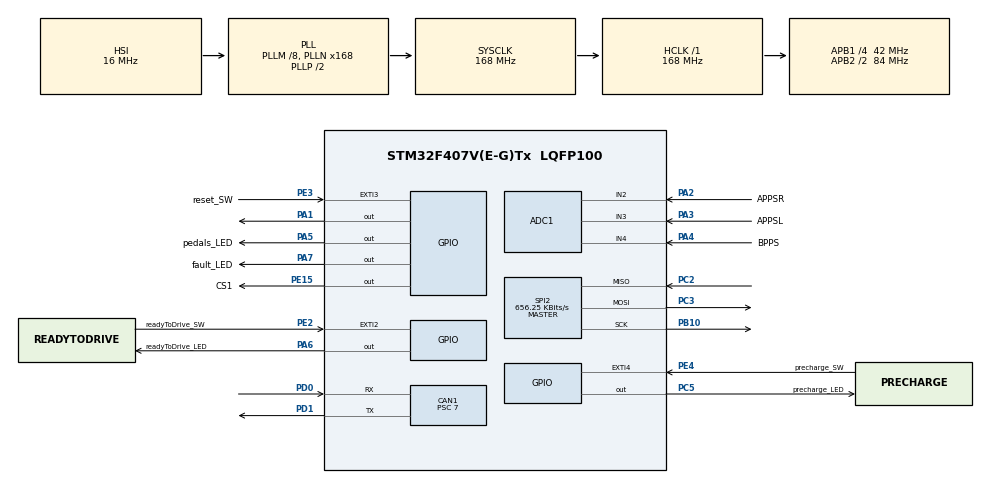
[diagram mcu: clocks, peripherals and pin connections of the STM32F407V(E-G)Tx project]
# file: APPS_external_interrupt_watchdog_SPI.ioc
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ADC1.Channel-0\#ChannelRegularConversion=ADC_CHANNEL_2
ADC1.Channel-1\#ChannelRegularConversion=ADC_CHANNEL_3
ADC1.Channel-2\#ChannelRegularConversion=ADC_CHANNEL_4
ADC1.ClockPrescaler=ADC_CLOCK_SYNC_PCLK_DIV8
ADC1.ContinuousConvMode=ENABLE
ADC1.DMAContinuousRequests=ENABLE
ADC1.NbrOfConversion=3
ADC1.NbrOfConversionFlag=1
ADC1.Rank-0\#ChannelRegularConversion=1
ADC1.Rank-1\#ChannelRegularConversion=2
ADC1.Rank-2\#ChannelRegularConversion=3
ADC1.SamplingTime-0\#ChannelRegularConversion=ADC_SAMPLETIME_480CYCLES
ADC1.SamplingTime-1\#ChannelRegularConversion=ADC_SAMPLETIME_480CYCLES
ADC1.SamplingTime-2\#ChannelRegularConversion=ADC_SAMPLETIME_480CYCLES
ADC1.ScanConvMode=ENABLE
ADC1.master=1
CAN1.BS1=CAN_BS1_5TQ
CAN1.BS2=CAN_BS2_6TQ
CAN1.CalculateBaudRate=500000
CAN1.CalculateTimeBit=1999.99
CAN1.CalculateTimeQuantum=166.66666666666669
CAN1.Prescaler=7
Dma.ADC1.0.Direction=DMA_PERIPH_TO_MEMORY
Dma.ADC1.0.FIFOMode=DMA_FIFOMODE_DISABLE
Dma.ADC1.0.Instance=DMA2_Stream0
Dma.ADC1.0.MemDataAlignment=DMA_MDATAALIGN_HALFWORD
Dma.ADC1.0.MemInc=DMA_MINC_ENABLE
Dma.ADC1.0.Mode=DMA_CIRCULAR
Dma.ADC1.0.PeriphDataAlignment=DMA_PDATAALIGN_HALFWORD
Dma.ADC1.0.PeriphInc=DMA_PINC_DISABLE
Dma.ADC1.0.Priority=DMA_PRIORITY_LOW
Dma.Request0=ADC1
IWDG.Prescaler=IWDG_PRESCALER_32
IWDG.Reload=1000
Mcu.Family=STM32F4
Mcu.Name=STM32F407V(E-G)Tx
Mcu.Package=LQFP100
NVIC.CAN1_RX0_IRQn=true\:3\:0\:true\:true\:true\:6\:true\:true
NVIC.DMA2_Stream0_IRQn=true\:0\:0\:false\:true\:true\:1\:false\:true
NVIC.EXTI2_IRQn=true\:1\:2\:true\:true\:true\:4\:true\:true
NVIC.EXTI3_IRQn=true\:1\:0\:true\:true\:true\:2\:true\:true
NVIC.EXTI4_IRQn=true\:1\:1\:true\:true\:true\:3\:true\:true
NVIC.PriorityGroup=NVIC_PRIORITYGROUP_2
NVIC.TIM2_IRQn=true\:2\:0\:true\:true\:true\:5\:true\:true
PA1.Signal=GPIO_Output
PA2.GPIO_Label=APPSR
PA2.Signal=ADCx_IN2
PA3.GPIO_Label=APPSL
PA3.Signal=ADCx_IN3
PA4.GPIO_Label=BPPS
PA4.Signal=ADCx_IN4
PA5.GPIO_Label=pedals_LED
PA5.Signal=GPIO_Output
PA6.GPIO_Label=readyToDrive_LED
PA6.Signal=GPIO_Output
PA7.GPIO_Label=fault_LED
PA7.Signal=GPIO_Output
PB10.Mode=Full_Duplex_Master
PB10.Signal=SPI2_SCK
PC2.Mode=Full_Duplex_Master
PC2.Signal=SPI2_MISO
PC3.Mode=Full_Duplex_Master
PC3.Signal=SPI2_MOSI
PC5.GPIO_Label=precharge_LED
PC5.Signal=GPIO_Output
PD0.Mode=CAN_Activate
PD0.Signal=CAN1_RX
PD1.Mode=CAN_Activate
PD1.Signal=CAN1_TX
PE15.GPIO_Label=CS1
PE15.PinState=GPIO_PIN_SET
PE15.Signal=GPIO_Output
PE2.GPIO_Label=readyToDrive_SW
PE2.GPIO_ModeDefaultEXTI=GPIO_MODE_IT_RISING_FALLING
PE2.GPIO_PuPd=GPIO_PULLUP
PE2.Signal=GPXTI2
PE3.GPIO_Label=reset_SW
PE3.GPIO_ModeDefaultEXTI=GPIO_MODE_IT_RISING_FALLING
PE3.GPIO_PuPd=GPIO_PULLUP
PE3.Signal=GPXTI3
PE4.GPIO_Label=precharge_SW
PE4.GPIO_ModeDefaultEXTI=GPIO_MODE_IT_RISING_FALLING
PE4.GPIO_PuPd=GPIO_PULLDOWN
PE4.Signal=GPXTI4
PH0-OSC_IN.Mode=HSE-External-Oscillator
PH0-OSC_IN.Signal=RCC_OSC_IN
PH1-OSC_OUT.Mode=HSE-External-Oscillator
PH1-OSC_OUT.Signal=RCC_OSC_OUT
ProjectManager.HeapSize=0x200
ProjectManager.StackSize=0x400
ProjectManager.TargetToolchain=MDK-ARM V5.27
RCC.48MHZClocksFreq_Value=84000000
RCC.AHBFreq_Value=168000000
RCC.APB1CLKDivider=RCC_HCLK_DIV4
RCC.APB1Freq_Value=42000000
RCC.APB1TimFreq_Value=84000000
RCC.APB2CLKDivider=RCC_HCLK_DIV2
RCC.APB2Freq_Value=84000000
RCC.APB2TimFreq_Value=168000000
RCC.CortexFreq_Value=168000000
RCC.HCLKFreq_Value=168000000
RCC.HSE_VALUE=8000000
RCC.HSI_VALUE=16000000
RCC.LSE_VALUE=32768
RCC.PLLM=8
RCC.PLLN=168
RCC.SYSCLKFreq_VALUE=168000000
RCC.SYSCLKSource=RCC_SYSCLKSOURCE_PLLCLK
RCC.VCOOutputFreq_Value=336000000
SH.ADCx_IN2.0=ADC1_IN2,IN2
SH.ADCx_IN3.0=ADC1_IN3,IN3
SH.ADCx_IN4.0=ADC1_IN4,IN4
SPI2.BaudRatePrescaler=SPI_BAUDRATEPRESCALER_64
SPI2.CLKPhase=SPI_PHASE_2EDGE
SPI2.CLKPolarity=SPI_POLARITY_HIGH
SPI2.CalculateBaudRate=656.25 KBits/s
SPI2.Direction=SPI_DIRECTION_2LINES
SPI2.Mode=SPI_MODE_MASTER
SPI2.VirtualType=VM_MASTER
TIM2.Period=30
TIM2.Prescaler=42000
TIM2.TIM_MasterOutputTrigger=TIM_TRGO_UPDATE
VP_IWDG_VS_IWDG.Mode=IWDG_Activate
VP_TIM2_VS_ClockSourceINT.Mode=Internal
board=custom

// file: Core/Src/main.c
/* USER CODE BEGIN Header */
/**
  ******************************************************************************
  * @file           : main.c
  * @brief          : Main program body
  ******************************************************************************
  * @attention
  *
  * <h2><center>&copy; Copyright (c) 2021 STMicroelectronics.
  * All rights reserved.</center></h2>
  *
  * This software component is licensed by ST under BSD 3-Clause license,
  * the "License"; You may not use this file except in compliance with the
  * License. You may obtain a copy of the License at:
  *                        opensource.org/licenses/BSD-3-Clause
  *
  ******************************************************************************
  */
/* USER CODE END Header */
#include "main.h"
#include "adc.h"
#include "can.h"
#include "dma.h"
#include "iwdg.h"
#include "spi.h"
#include "tim.h"
#include "gpio.h"

/* USER CODE BEGIN Includes */
#include <stdbool.h>
#include <math.h>
/* USER CODE END Includes */

/* USER CODE BEGIN PTD */
//pedal box parameter setting
#define BrakeAct 800
#define APPSAct 800
#define APPSLeast 200   //for the APPS plausibility check  => motor must shut down until the APPS signals less than 5% peadal travel
#define APPSDIFF 2000

//if out of this range will generate error
#define APPSRUPPEST 4000
#define APPSLUPPEST 4000
#define BPPSUPPEST 4000
#define APPSRLOWEST 0
#define APPSLLOWEST 0
#define BPPSLOWEST 0
#define DISCONNECT 4050
//deine max and offset this parameter offset will slight bigger than the lowest and max will slight smaller than the uppest depends on  the pedal box
//this parameter is used to determine the output torque
#define APPSRMAX 3800
#define APPSLMAX 3800
#define APPSROFFSET 0
#define APPSLOFFSET 0

#define ReadyTime 2000   //ms

//dma scan
#define APPSR adcArr[0]
#define APPSL adcArr[1]
#define BPPS   adcArr[2]
#define APPS (adcArr[0]+adcArr[1])/2
/* USER CODE END PTD */

/* USER CODE BEGIN PV */
static CAN_TxHeaderTypeDef TxMessage_right;
static CAN_TxHeaderTypeDef TxMessage_left;
static CAN_RxHeaderTypeDef RxMessage;

//Rx Txdata
uint8_t TxData_R[8]={0};
uint8_t TxData_L[8]={0};
uint32_t TxMailbox;
uint8_t RxData[8]={0};

//address
uint16_t OwnID=0x123;
uint16_t RemoteID =0x0A0;

//sensor
uint32_t accMeter =0;
uint16_t wheelSpeed[4];
uint16_t steerDegree =0;

uint16_t adcArr[3];
bool readyButton;
uint8_t errorNumber;
uint16_t torque_right=0;
uint16_t torque_left=0;
uint32_t startTime;
uint32_t duration=0;
bool pedals=0;
bool rtd_io=0;
bool rtd_start=0; //if precharge&&reset&&readyToDrive io are all on this parameter will be true
//bool ready_io=0;
bool precharge_io=0;
bool reset_io=0;

//SPI variable
uint8_t data_rec[6];
int16_t x, y, z;
float xg, yg, zg;
/* USER CODE END PV */

void SystemClock_Config(void);
static void MX_NVIC_Init(void);
/* USER CODE BEGIN PFP */
//APPS
void driving_mode(void);
void led_blink(void);
void pedals_mode(void);
uint8_t check_safety(void);
uint16_t map(uint16_t value,uint16_t inputL,uint16_t inputH,uint16_t outputL ,uint16_t outputH);
void torque_command(void);
void torque_to_can(void);

//CAN
void CAN_filterConfig(void);
void CAN_Txsetup(void);

//SPI function
void adxl_write(uint8_t address, uint8_t value);
void adxl_read(uint8_t address);
void adxl_init();
/* USER CODE END PFP */

int main(void)
{

  /* MCU Configuration--------------------------------------------------------*/

  /* Reset of all peripherals, Initializes the Flash interface and the Systick. */
  HAL_Init();

  /* Configure the system clock */
  SystemClock_Config();

  /* Initialize all configured peripherals */
  MX_GPIO_Init();
  MX_DMA_Init();
  MX_ADC1_Init();
  MX_CAN1_Init();
  MX_TIM2_Init();
  MX_IWDG_Init();
  MX_SPI2_Init();

  /* Initialize interrupts */
  MX_NVIC_Init();
  /* USER CODE BEGIN 2 */

	HAL_ADC_Start_DMA(&hadc1,(uint32_t *)adcArr,3);
	HAL_TIM_Base_Start_IT(&htim2);
	CAN_filterConfig();
	CAN_Txsetup();

	precharge_io=HAL_GPIO_ReadPin(precharge_SW_GPIO_Port,precharge_SW_Pin);
	if(precharge_io)
		HAL_GPIO_WritePin(precharge_LED_GPIO_Port,precharge_LED_Pin,GPIO_PIN_SET);
	reset_io=!(HAL_GPIO_ReadPin(reset_SW_GPIO_Port,reset_SW_Pin));

	adxl_init();
  /* USER CODE END 2 */

  /* Infinite loop */
  while (1)
  {

    /* USER CODE BEGIN 3 */
		//waiting for precharge reset_switch, ready to drive to activate the driving mode
		if(rtd_io==0){
				torque_right=0;
				torque_left=0;
				HAL_GPIO_WritePin(readyToDrive_LED_GPIO_Port,readyToDrive_LED_Pin,GPIO_PIN_RESET);
				HAL_GPIO_WritePin(pedals_LED_GPIO_Port,pedals_LED_Pin,GPIO_PIN_RESET);
				duration=0;
				do{
						if(BPPS>=BrakeAct &&  rtd_start==1){
								startTime=HAL_GetTick();
								while(duration<ReadyTime &&   rtd_start==1){
										duration = HAL_GetTick()-startTime;
								}
						}
				}while(duration<ReadyTime);
				 rtd_io=1;
			}
			//driving stage
			if(rtd_io==1){
					HAL_GPIO_WritePin(fault_LED_GPIO_Port,fault_LED_Pin,GPIO_PIN_RESET);
					HAL_GPIO_WritePin(readyToDrive_LED_GPIO_Port,readyToDrive_LED_Pin,GPIO_PIN_SET);
				  //entering drive mode
					driving_mode();

			}

		//adxl_read(0x32);
		//x = ((data_rec[1] << 8) | data_rec[0]);
		//y = ((data_rec[3] << 8) | data_rec[2]);
		//z = ((data_rec[5] << 8) | data_rec[4]);

		//xg = x * 0.0078;
		//yg = y * 0.0078;
		//zg = z * 0.0078;

		//HAL_Delay(100);
  }
  /* USER CODE END 3 */
}

void SystemClock_Config(void)
{
  RCC_OscInitTypeDef RCC_OscInitStruct = {0};
  RCC_ClkInitTypeDef RCC_ClkInitStruct = {0};

  /** Configure the main internal regulator output voltage
  */
  __HAL_RCC_PWR_CLK_ENABLE();
  __HAL_PWR_VOLTAGESCALING_CONFIG(PWR_REGULATOR_VOLTAGE_SCALE1);
  /** Initializes the RCC Oscillators according to the specified parameters
  * in the RCC_OscInitTypeDef structure.
  */
  RCC_OscInitStruct.OscillatorType = RCC_OSCILLATORTYPE_HSI|RCC_OSCILLATORTYPE_LSI;
  RCC_OscInitStruct.HSIState = RCC_HSI_ON;
  RCC_OscInitStruct.HSICalibrationValue = RCC_HSICALIBRATION_DEFAULT;
  RCC_OscInitStruct.LSIState = RCC_LSI_ON;
  RCC_OscInitStruct.PLL.PLLState = RCC_PLL_ON;
  RCC_OscInitStruct.PLL.PLLSource = RCC_PLLSOURCE_HSI;
  RCC_OscInitStruct.PLL.PLLM = 8;
  RCC_OscInitStruct.PLL.PLLN = 168;
  RCC_OscInitStruct.PLL.PLLP = RCC_PLLP_DIV2;
  RCC_OscInitStruct.PLL.PLLQ = 4;
  if (HAL_RCC_OscConfig(&RCC_OscInitStruct) != HAL_OK)
  {
    Error_Handler();
  }
  /** Initializes the CPU, AHB and APB buses clocks
  */
  RCC_ClkInitStruct.ClockType = RCC_CLOCKTYPE_HCLK|RCC_CLOCKTYPE_SYSCLK
                              |RCC_CLOCKTYPE_PCLK1|RCC_CLOCKTYPE_PCLK2;
  RCC_ClkInitStruct.SYSCLKSource = RCC_SYSCLKSOURCE_PLLCLK;
  RCC_ClkInitStruct.AHBCLKDivider = RCC_SYSCLK_DIV1;
  RCC_ClkInitStruct.APB1CLKDivider = RCC_HCLK_DIV4;
  RCC_ClkInitStruct.APB2CLKDivider = RCC_HCLK_DIV2;

  if (HAL_RCC_ClockConfig(&RCC_ClkInitStruct, FLASH_LATENCY_5) != HAL_OK)
  {
    Error_Handler();
  }
}

/**
  * @brief NVIC Configuration.
  * @retval None
  */
static void MX_NVIC_Init(void)
{
  /* DMA2_Stream0_IRQn interrupt configuration */
  HAL_NVIC_SetPriority(DMA2_Stream0_IRQn, 0, 0);
  HAL_NVIC_EnableIRQ(DMA2_Stream0_IRQn);
  /* EXTI3_IRQn interrupt configuration */
  HAL_NVIC_SetPriority(EXTI3_IRQn, 1, 0);
  HAL_NVIC_EnableIRQ(EXTI3_IRQn);
  /* EXTI4_IRQn interrupt configuration */
  HAL_NVIC_SetPriority(EXTI4_IRQn, 1, 1);
  HAL_NVIC_EnableIRQ(EXTI4_IRQn);
  /* EXTI2_IRQn interrupt configuration */
  HAL_NVIC_SetPriority(EXTI2_IRQn, 1, 2);
  HAL_NVIC_EnableIRQ(EXTI2_IRQn);
  /* TIM2_IRQn interrupt configuration */
  HAL_NVIC_SetPriority(TIM2_IRQn, 2, 0);
  HAL_NVIC_EnableIRQ(TIM2_IRQn);
  /* CAN1_RX0_IRQn interrupt configuration */
  HAL_NVIC_SetPriority(CAN1_RX0_IRQn, 3, 0);
  HAL_NVIC_EnableIRQ(CAN1_RX0_IRQn);
}

/* USER CODE BEGIN 4 */
void HAL_TIM_PeriodElapsedCallback(TIM_HandleTypeDef *htim2)
{
  /* Prevent unused argument(s) compilation warning */
  UNUSED(htim2);

  /* NOTE : This function should not be modified, when the callback is needed,
            the HAL_TIM_PeriodElapsedCallback could be implemented in the user file
   */

	adxl_read(0x32);
	x = ((data_rec[1] << 8) | data_rec[0]);
	y = ((data_rec[3] << 8) | data_rec[2]);
	z = ((data_rec[5] << 8) | data_rec[4]);

	xg = x * 0.0078;
	yg = y * 0.0078;
	zg = z * 0.0078;

	//torque_command();
	torque_to_can();
	HAL_CAN_AddTxMessage(&hcan1,&TxMessage_right,TxData_R,&TxMailbox);
	HAL_CAN_AddTxMessage(&hcan1,&TxMessage_left ,TxData_L,&TxMailbox);
	HAL_IWDG_Refresh(&hiwdg);
	HAL_GPIO_TogglePin(GPIOA,GPIO_PIN_1);
}

void CAN_filterConfig(void){
	CAN_FilterTypeDef filterConfig;

	filterConfig.FilterBank=0;
	filterConfig.FilterActivation=ENABLE;
	filterConfig.FilterFIFOAssignment=CAN_RX_FIFO0;
	filterConfig.FilterIdHigh=0x0000;
	filterConfig.FilterIdLow=0x0000;
	filterConfig.FilterMaskIdHigh=0x0000;
	filterConfig.FilterMaskIdLow=0x0000;
	filterConfig.FilterMode=CAN_FILTERMODE_IDMASK;
	filterConfig.FilterScale= CAN_FILTERSCALE_32BIT;
	filterConfig.SlaveStartFilterBank=14;

	if(HAL_CAN_ConfigFilter(&hcan1,&filterConfig)!=HAL_OK){
		Error_Handler();
	}

	if(HAL_CAN_ActivateNotification(&hcan1,CAN_IT_RX_FIFO0_MSG_PENDING)!=HAL_OK){
		Error_Handler();
	}		//enable interrupt

}
void CAN_Txsetup(){
		if(HAL_CAN_Start(&hcan1)!=HAL_OK){
		Error_Handler();
		}

		TxMessage_right.StdId=0x0C0;
		TxMessage_right.ExtId=0x01;
		TxMessage_right.RTR=CAN_RTR_DATA;
		TxMessage_right.IDE=CAN_ID_STD;
		TxMessage_right.DLC=8;
		TxMessage_right.TransmitGlobalTime=DISABLE;   //time trigger must be turned ON

		TxMessage_left.StdId=0x0F0;
		TxMessage_left.ExtId=0x01;
		TxMessage_left.RTR=CAN_RTR_DATA;
		TxMessage_left.IDE=CAN_ID_STD;
		TxMessage_left.DLC=8;
		TxMessage_left.TransmitGlobalTime=DISABLE;   //time trigger must be turned ON

		TxData_R[0]=0;
		TxData_R[1]=0;
		TxData_R[2]=0;
		TxData_R[3]=0;
		TxData_R[4]=0;
		TxData_R[5]=0;
		TxData_R[6]=0;
		TxData_R[7]=0;

		TxData_L[0]=0;
		TxData_L[1]=0;
		TxData_L[2]=0;
		TxData_L[3]=0;
		TxData_L[4]=0;
		TxData_L[5]=0;
		TxData_L[6]=0;
		TxData_L[7]=0;
}

void HAL_CAN_RxFifo0MsgPendingCallback(CAN_HandleTypeDef *hcan){
	if(HAL_CAN_GetRxMessage(hcan,CAN_RX_FIFO0,&RxMessage,RxData)!=HAL_OK){
		Error_Handler();
	}
}

void driving_mode(void){
  errorNumber= check_safety();
	switch(errorNumber){
		case 1:{
			//wiring disconnection
			HAL_GPIO_WritePin(fault_LED_GPIO_Port,fault_LED_Pin,GPIO_PIN_SET);
			torque_right=0;
			torque_left=0;
			rtd_io=0;
			break;
		}
		case 2:{
			//apps throttle differ over
			HAL_GPIO_WritePin(fault_LED_GPIO_Port,fault_LED_Pin,GPIO_PIN_SET);
			torque_right=0;
			torque_left=0;
			rtd_io=0;
			break;
		}
		case 3:{
			//bpps || apps out of range
			HAL_GPIO_WritePin(fault_LED_GPIO_Port,fault_LED_Pin,GPIO_PIN_SET);
			torque_right=0;
			torque_left=0;
			rtd_io=0;
			break;
		}
		case 4:{
			//pedals =>enter pedals mode
			HAL_GPIO_WritePin(pedals_LED_GPIO_Port,pedals_LED_Pin,GPIO_PIN_SET);
			torque_right=0;
			torque_left=0;
			pedals=1;
			break;
		}
		case 5:{
			//brake acting
			torque_right=0;
			torque_left=0;
			break;
		}
		case 0:{
			//accelaration mode
			torque_command();
			break;
		}

	}
	if(pedals==1){
		if(APPS<APPSLeast){
			pedals=0;
			HAL_GPIO_WritePin(pedals_LED_GPIO_Port,pedals_LED_Pin,GPIO_PIN_RESET);
		}
	}
}
uint8_t check_safety(void){
		//detect disconnect
		if(APPSR>DISCONNECT || APPSL>DISCONNECT || BPPS>DISCONNECT){
			return 1;
		}
		//apps difference over APPS different  limit
		else if( __fabs (APPSR-APPSL)> APPSDIFF){
			return 2;
		}
		//check if sensor in the correct zone
		//BPPS 0~100 APPS 0~200
		else if(APPSR>APPSRUPPEST || APPSL>APPSLUPPEST || BPPS>BPPSUPPEST||APPSR<APPSRLOWEST || APPSL<APPSLLOWEST ||BPPS<BPPSLOWEST){
			return 3;
		}
		//braking >20
		else if(BPPS>BrakeAct){
			if(APPS>APPSAct){
				 pedals=1;
				return 4;	 //braking with pedal not safe
			}
			return 5;   //braking safely
		}
		return 0;   //accelaration mode
}

uint16_t map(uint16_t value, uint16_t inputL,uint16_t inputH,uint16_t outputL ,uint16_t outputH){

	uint16_t returnVal=(value-inputL)*(outputH-outputL)/(inputH-inputL)+outputL;
	if(returnVal>outputH){
		return outputH;
	}else {
		return returnVal;
	}
}

void torque_command(void){

		torque_right=map(APPS,(APPSROFFSET+APPSLOFFSET)/2,(APPSRMAX+APPSLMAX)/2,0,1400);
		torque_left= map(APPS,(APPSROFFSET+APPSLOFFSET)/2,(APPSRMAX+APPSLMAX)/2,0,1400);
}

void torque_to_can(void){
	/*01 torque command (torque = ([0]+[1]*256)/10)
  23 speed command (angular speed = [2]+[3]*256
  4   Direction (0:reverse 1:forwards rd).  *further note: if the direction command is changed suddenly when the inverter is still enable, inverter is disable without triggering any fault
  And the Lockout mechanism is set again which will force the user to re-enable it
  5   5.0 inverter enable (0:off 1:ON)
       5.1 inverter discharge (0 disable 1 enable)
       5.2 speed mode
  67  commanded torque limit (0 default)
  this message should be continuously broadcast at least 500 milliseconds
	*/
	if(rtd_io==0){
		TxData_R[0]=0;
		TxData_R[1]=0;
		TxData_R[5]=0;

		TxData_L[0]=0;
		TxData_L[1]=0;
		TxData_L[5]=0;
	}else{
		TxData_R[0]=(torque_right%256);
		TxData_R[1]=(torque_right/256);
		TxData_R[4]=1;
		TxData_R[5]=1;

		TxData_L[0]=(torque_left%256);
		TxData_L[1]=(torque_left/256);
		TxData_L[4]=1;
		TxData_L[5]=1;
	}

}
void adxl_write(uint8_t address, uint8_t value)
{
	uint8_t data[2];
	data[0] = address|0x40;	//Multibyte write enabled
	data[1] = value;
	HAL_GPIO_WritePin(CS1_GPIO_Port, CS1_Pin, GPIO_PIN_RESET);	//Pull CS pin low to enable transmission
	HAL_SPI_Transmit(&hspi2, data, 2, 100);	//Transmit address and data
	HAL_GPIO_WritePin(CS1_GPIO_Port, CS1_Pin, GPIO_PIN_SET);	//Pull CS pin high  to close transmission
}

void adxl_read(uint8_t address)
{
	address |= 0x80;	//read operation
	address |= 0x40;	//multibyte read
	HAL_GPIO_WritePin(CS1_GPIO_Port, CS1_Pin, GPIO_PIN_RESET);
	HAL_SPI_Transmit(&hspi2, &address, 1, 100);	//**
	HAL_SPI_Receive(&hspi2, data_rec, 6, 100);
	HAL_GPIO_WritePin(CS1_GPIO_Port, CS1_Pin, GPIO_PIN_SET);
}

void adxl_init()
{
	adxl_write(0x31, 0x01);
	adxl_write(0x2d, 0x00);
	adxl_write(0x2d, 0x08);
}
/* USER CODE END 4 */

void Error_Handler(void)
{
  __disable_irq();
  while (1)
  {
  }
}

/************************ (C) COPYRIGHT STMicroelectronics *****END OF FILE****/
